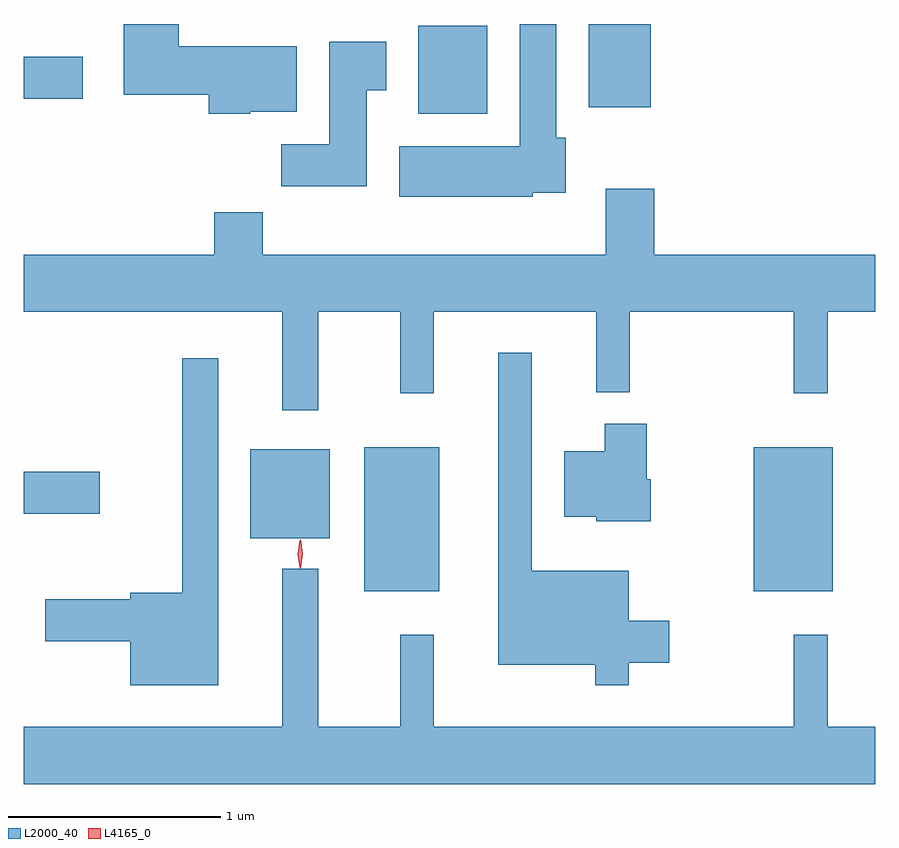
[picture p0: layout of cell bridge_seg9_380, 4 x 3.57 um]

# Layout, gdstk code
import gdstk
lib = gdstk.Library(unit=1e-6, precision=1e-09)
def R(c, l, rs):  # rectangles x0, y0, x1, y1
    for r in rs: c.add(gdstk.rectangle(r[:2], r[2:], *l))
def P(c, l, *ps):  # polygons
    for p in ps: c.add(gdstk.Polygon(p, *l))
L2000_40 = (2000, 40)
L4165_0 = (4165, 0)

bridge_seg9_380 = lib.new_cell('bridge_seg9_380')
R(bridge_seg9_380, L2000_40, [(919.396,1954.981,919.749,1955.659), (921.226,1954.981,921.599,1955.659), (918.861,1955.231,919.234,1955.649), (917.797,1955.346,918.154,1955.544), (919.651,1957.226,919.974,1957.639), (920.451,1957.256,920.744,1957.648), (917.797,1957.296,918.074,1957.494)])
P(bridge_seg9_380, L2000_40, [(920.189,1956.856),(920.344,1956.856),(920.344,1957.114),(920.299,1957.114),(920.299,1957.648),(920.126,1957.648),(920.126,1957.074),(919.561,1957.074),(919.561,1956.836),(920.189,1956.836)],
  [(918.86,1957.236),(919.079,1957.236),(919.079,1957.544),(918.524,1957.544),(918.524,1957.648),(918.266,1957.648),(918.266,1957.316),(918.666,1957.316),(918.666,1957.226),(918.86,1957.226)],
  [(919.409,1957.336),(919.499,1957.336),(919.499,1957.564),(919.231,1957.564),(919.231,1957.084),(919.006,1957.084),(919.006,1956.886),(919.409,1956.886)],
  [(919.179,1956.296),(919.566,1956.296),(919.566,1955.913),(919.724,1955.913),(919.724,1956.296),(920.486,1956.296),(920.486,1955.918),(920.644,1955.918),(920.644,1956.296),(921.416,1956.296),(921.416,1955.913),(921.574,1955.913),(921.574,1956.296),(921.797,1956.296),(921.797,1956.564),(920.759,1956.564),(920.759,1956.874),(920.531,1956.874),(920.531,1956.564),(918.919,1956.564),(918.919,1956.764),(918.691,1956.764),(918.691,1956.564),(917.797,1956.564),(917.797,1956.296),(919.011,1956.296),(919.011,1955.833),(919.179,1955.833)],
  [(920.639,1954.646),(920.829,1954.646),(920.829,1954.844),(920.639,1954.844),(920.639,1955.079),(920.184,1955.079),(920.184,1956.103),(920.026,1956.103),(920.026,1954.636),(920.481,1954.636),(920.481,1954.541),(920.639,1954.541)],
  [(918.709,1956.078),(918.541,1956.078),(918.541,1954.974),(918.296,1954.974),(918.296,1954.944),(917.896,1954.944),(917.896,1954.746),(918.296,1954.746),(918.296,1954.541),(918.709,1954.541)],
  [(920.744,1955.509),(920.724,1955.509),(920.724,1955.769),(920.526,1955.769),(920.526,1955.639),(920.336,1955.639),(920.336,1955.331),(920.486,1955.331),(920.486,1955.311),(920.744,1955.311)],
  [(921.797,1954.344),(921.574,1954.344),(921.574,1954.778),(921.416,1954.778),(921.416,1954.344),(919.724,1954.344),(919.724,1954.778),(919.566,1954.778),(919.566,1954.344),(919.179,1954.344),(919.179,1955.088),(919.011,1955.088),(919.011,1954.344),(917.797,1954.344),(917.797,1954.076),(921.797,1954.076)])
P(bridge_seg9_380, L4165_0, [(919.094,1955.093),(919.094,1955.093),(919.084,1955.157),(919.094,1955.221),(919.094,1955.222),(919.095,1955.221),(919.104,1955.157),(919.095,1955.093)],
  [(919.097,1955.089),(919.097,1955.09),(919.087,1955.158),(919.097,1955.226),(919.097,1955.226),(919.098,1955.226),(919.107,1955.158),(919.098,1955.09)])

lib.write_gds('bridge_seg9_380.gds')
